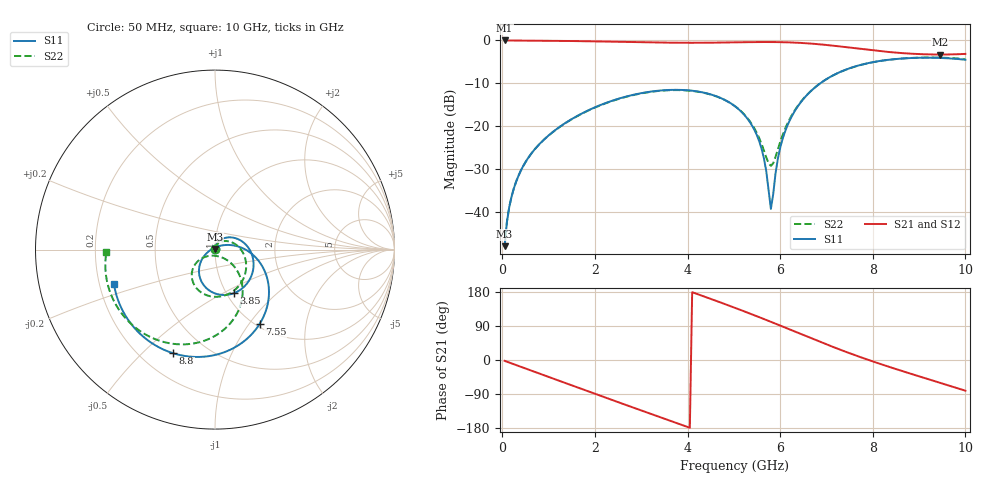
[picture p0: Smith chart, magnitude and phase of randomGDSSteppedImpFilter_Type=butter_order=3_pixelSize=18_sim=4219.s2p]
! freq	dB(S11)	phase(S11)	dB(S12)	phase(S12)
!  dB(S21)	phase(S21)	dB(S22)	phase(S22)
!S-par simulation data
#  GHz  S  DB  R 50
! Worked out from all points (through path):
!   200 points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, 50 MHz to 10 GHz, reference 50 ohm
!   highest |S21| = -0.01 dB at 50 MHz (marker M1); lowest = -3.3 dB at 9.45 GHz (marker M2)
!   group delay of S21, straight-line fit = 125 ps
!   lowest |S11| = -48.0 dB at 50 MHz (marker M3), VSWR 1.01, Z = 50 + j0.394 ohm
!   |S11| at or under -10 dB: start of sweep to 6.867 GHz
!   |S22| runs from -48.0 to -4.0 dB; largest |S21 - S12| = 0
!   S11 on the Smith chart (normalised r, x): 50 MHz: 1.00, +0.01; 3.85 GHz: 1.08, -0.57; 7.55 GHz: 1.04, -1.13; 8.8 GHz: 0.33, -0.62; 10 GHz: 0.26, -0.16
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0.05  -48.02 82.7  -0.01 -2.3  -0.01 -2.3  -48.02 81.5
0.1  -42.35 82.6  -0.01 -4.5  -0.01 -4.5  -42.34 81.0
0.2  -36.46 80.6  -0.02 -9.0  -0.02 -9.0  -36.43 77.5
0.5  -28.42 71.0  -0.04 -22.4  -0.04 -22.4  -28.43 63.0
1.15  -20.87 47.2  -0.09 -51.3  -0.09 -51.3  -20.91 30.5
1.75  -16.87 23.4  -0.18 -78.0  -0.18 -78.0  -16.93 1.3
2.5  -13.63 -8.0  -0.32 -111.2  -0.32 -111.2  -13.70 -33.5
3.4  -11.70 -46.8  -0.49 -150.6  -0.49 -150.6  -11.76 -72.8
3.85  -11.55 -66.5  -0.54 -170.1  -0.54 -170.1  -11.60 -91.7
4.45  -12.44 -93.2  -0.53 163.6  -0.53 163.6  -12.49 -116.0
5.05  -15.57 -121.7  -0.44 136.5  -0.44 136.5  -15.55 -138.4
5.55  -23.60 -150.9  -0.37 112.9  -0.37 112.9  -22.85 -144.5
5.7  -30.51 -169.5  -0.37 105.6  -0.37 105.6  -27.28 -127.5
5.8  -39.32 123.3  -0.37 100.8  -0.37 100.8  -29.28 -94.9
5.95  -27.64 32.7  -0.39 93.4  -0.39 93.4  -25.43 -51.5
6.1  -21.45 17.8  -0.42 85.9  -0.42 85.9  -20.80 -40.9
6.7  -11.46 -17.3  -0.77 55.9  -0.77 55.9  -11.43 -54.9
7.55  -6.31 -59.1  -1.74 15.7  -1.74 15.7  -6.33 -90.3
8.35  -4.50 -93.8  -2.70 -18.0  -2.70 -18.0  -4.51 -121.5
8.8  -4.12 -111.9  -3.08 -35.5  -3.08 -35.5  -4.10 -137.7
9.45  -4.09 -137.9  -3.29 -60.0  -3.29 -60.0  -4.02 -160.0
10  -4.51 -161.1  -3.15 -81.0  -3.15 -81.0  -4.36 -178.5
